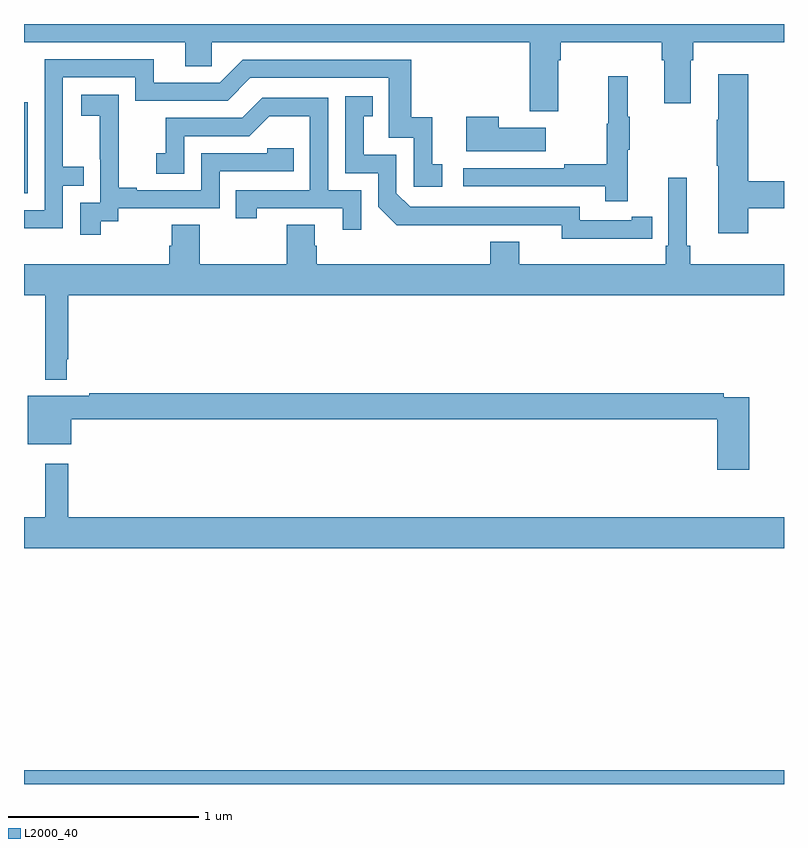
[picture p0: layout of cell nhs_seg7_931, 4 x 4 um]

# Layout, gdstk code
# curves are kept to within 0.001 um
import gdstk
lib = gdstk.Library(unit=1e-6, precision=1e-09)
def R(c, l, rs):  # rectangles x0, y0, x1, y1
    for r in rs: c.add(gdstk.rectangle(r[:2], r[2:], *l))
def P(c, l, *ps):  # polygons
    for p in ps: c.add(gdstk.Polygon(p, *l))
L2000_40 = (2000, 40)

nhs_seg7_931 = lib.new_cell('nhs_seg7_931')
R(nhs_seg7_931, L2000_40, [(179,1042,183,1042.072), (179,1045.11,179.019,1045.587)])
P(nhs_seg7_931, L2000_40, [(179,1045.904),(179.849,1045.904),(179.849,1045.777),(179.988,1045.777),(179.988,1045.904),(181.661,1045.904),(181.661,1045.542),(181.813,1045.542),(181.813,1045.808),(181.826,1045.808),(181.826,1045.904),(182.357,1045.904),(182.357,1045.808),(182.369,1045.808),(182.369,1045.584),(182.509,1045.584),(182.509,1045.808),(182.522,1045.808),(182.522,1045.904),(183,1045.904),(183,1046),(179,1046)],
  [(179.205,1045.149),(179.315,1045.149),(179.315,1045.25),(179.205,1045.25),(179.205,1045.719),(179.586,1045.719),(179.586,1045.596),(180.072,1045.596),(180.192,1045.716),(180.921,1045.716),(180.921,1045.401),(181.05,1045.401),(181.05,1045.143),(181.201,1045.143),(181.201,1045.263),(181.148,1045.263),(181.148,1045.51),(181.037,1045.51),(181.037,1045.812),(180.15,1045.812),(180.03,1045.692),(179.683,1045.692),(179.683,1045.815),(179.109,1045.815),(179.109,1045.02),(179,1045.02),(179,1044.924),(179.205,1044.924)],
  [(182.813,1045.03),(183,1045.03),(183,1045.172),(182.813,1045.172),(182.813,1045.735),(182.654,1045.735),(182.654,1045.496),(182.647,1045.496),(182.647,1045.255),(182.654,1045.255),(182.654,1044.9),(182.813,1044.9)],
  [(182.177,1045.339),(182.188,1045.339),(182.188,1045.513),(182.177,1045.513),(182.177,1045.726),(182.074,1045.726),(182.074,1045.476),(182.067,1045.476),(182.067,1045.262),(181.843,1045.262),(181.843,1045.242),(181.311,1045.242),(181.311,1045.146),(182.059,1045.146),(182.059,1045.068),(182.177,1045.068)],
  [(179.404,1044.961),(179.496,1044.961),(179.496,1045.029),(180.03,1045.029),(180.03,1045.224),(180.419,1045.224),(180.419,1045.347),(180.279,1045.347),(180.279,1045.32),(179.934,1045.32),(179.934,1045.125),(179.593,1045.125),(179.593,1045.138),(179.498,1045.138),(179.498,1045.421),(179.499,1045.421),(179.499,1045.627),(179.301,1045.627),(179.301,1045.517),(179.399,1045.517),(179.399,1045.289),(179.4,1045.289),(179.4,1045.059),(179.295,1045.059),(179.295,1044.891),(179.404,1044.891)],
  [(182.198,1044.87),(182.306,1044.87),(182.306,1044.986),(182.198,1044.986),(182.198,1044.966),(181.926,1044.966),(181.926,1045.038),(181.032,1045.038),(180.96,1045.11),(180.96,1045.311),(180.787,1045.311),(180.787,1045.515),(180.836,1045.515),(180.836,1045.621),(180.69,1045.621),(180.69,1045.215),(180.864,1045.215),(180.864,1045.038),(180.962,1044.941),(181.83,1044.942),(181.83,1044.869)],
  [(180.774,1045.125),(180.6,1045.125),(180.6,1045.611),(180.254,1045.611),(180.149,1045.506),(179.746,1045.506),(179.746,1045.321),(179.697,1045.321),(179.697,1045.212),(179.844,1045.212),(179.844,1045.41),(180.186,1045.41),(180.29,1045.514),(180.504,1045.514),(180.504,1045.125),(180.115,1045.125),(180.115,1044.978),(180.226,1044.978),(180.226,1045.029),(180.677,1045.029),(180.677,1044.918),(180.774,1044.918)],
  [(181.747,1045.453),(181.499,1045.453),(181.499,1045.513),(181.328,1045.513),(181.328,1045.331),(181.747,1045.331)],
  [(179.226,1044.235),(179.233,1044.235),(179.233,1044.572),(183,1044.572),(183,1044.736),(182.507,1044.736),(182.507,1044.832),(182.488,1044.832),(182.488,1045.192),(182.391,1045.192),(182.391,1044.832),(182.378,1044.832),(182.378,1044.736),(181.606,1044.736),(181.606,1044.853),(181.454,1044.853),(181.454,1044.736),(180.542,1044.736),(180.542,1044.834),(180.529,1044.834),(180.529,1044.944),(180.382,1044.944),(180.382,1044.736),(179.925,1044.736),(179.925,1044.944),(179.777,1044.944),(179.777,1044.834),(179.765,1044.834),(179.765,1044.736),(179,1044.736),(179,1044.572),(179.111,1044.572),(179.111,1044.128),(179.226,1044.128)],
  [(182.818,1044.036),(182.684,1044.036),(182.684,1044.056),(179.344,1044.056),(179.344,1044.043),(179.021,1044.043),(179.021,1043.789),(179.248,1043.789),(179.248,1043.92),(182.648,1043.92),(182.648,1043.655),(182.818,1043.655)],
  [(183,1043.404),(179.233,1043.404),(179.233,1043.686),(179.111,1043.686),(179.111,1043.404),(179,1043.404),(179,1043.24),(183,1043.24)])

lib.write_gds('nhs_seg7_931.gds')
